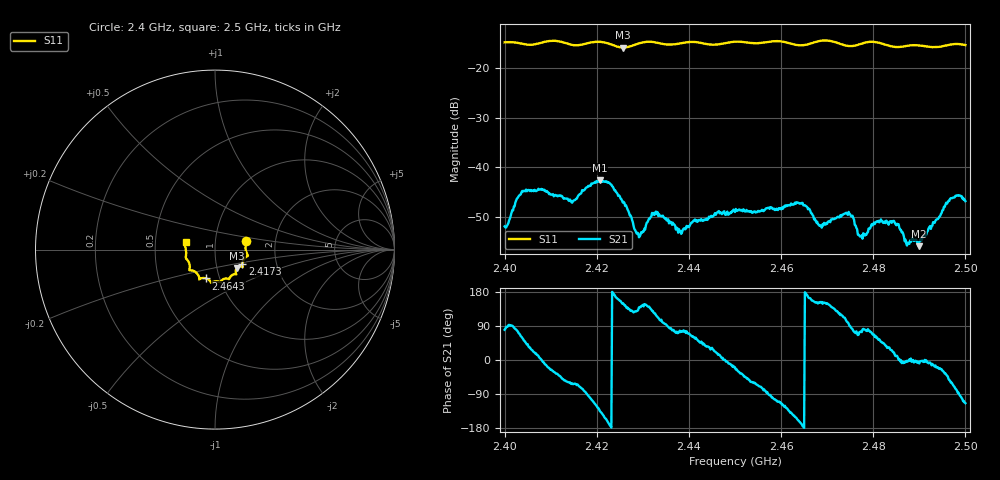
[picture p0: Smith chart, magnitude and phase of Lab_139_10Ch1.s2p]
# Hz S RI R 50
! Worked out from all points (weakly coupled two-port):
!   601 points, 2.4 GHz to 2.5 GHz, reference 50 ohm
!   highest |S21| = -42.59 dB at 2.4207 GHz (marker M1); lowest = -55.9 dB at 2.4898 GHz (marker M2)
!   lowest |S11| = -15.9 dB at 2.4257 GHz (marker M3), VSWR 1.38, Z = 62.4 - j13.1 ohm
!   |S11| at or under -10 dB: start of sweep to end of sweep
!   S12 and S22 are empty: the file has one direction only
!   S11 on the Smith chart (normalised r, x): 2.4 GHz: 1.41, +0.14; 2.4173 GHz: 1.34, -0.23; 2.4643 GHz: 0.86, -0.28; 2.5 GHz: 0.72, +0.06
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2.4e9  0.1732 0.0491  0.000451 0.00251  0 0  0 0
2.404167e9  0.1714 0.0228  0.00362 0.00454  0 0  0 0
2.4145e9  0.1627 -0.0508  0.00201 -0.00398  0 0  0 0
2.416667e9  0.1533 -0.0748  0.00148 -0.00533  0 0  0 0
2.417333e9  0.1525 -0.0823  0.000765 -0.00586  0 0  0 0
2.420667e9  0.1541 -0.0972  -0.0052 -0.0053  0 0  0 0
2.425667e9  0.1225 -0.1022  -0.00382 0.0022  0 0  0 0
2.429e9  0.1158 -0.1311  -0.00147 0.00159  0 0  0 0
2.433333e9  0.1128 -0.1369  -0.00119 0.00301  0 0  0 0
2.438167e9  0.0823 -0.1555  0.000644 0.0022  0 0  0 0
2.45e9  0.0294 -0.1806  0.00335 -0.00117  0 0  0 0
2.464333e9  -0.0501 -0.1606  -0.00421 -0.000924  0 0  0 0
2.466667e9  -0.0758 -0.1595  -0.00316 0.00134  0 0  0 0
2.468667e9  -0.0869 -0.1655  -0.00226 0.00121  0 0  0 0
2.4745e9  -0.1017 -0.131  -0.000529 0.00328  0 0  0 0
2.477167e9  -0.1278 -0.1164  0.000549 0.00193  0 0  0 0
2.483333e9  -0.1407 -0.0899  0.00221 0.00147  0 0  0 0
2.485e9  -0.1447 -0.0719  0.00257 0.000503  0 0  0 0
2.487333e9  -0.157 -0.0545  0.00163 -5.41e-05  0 0  0 0
2.489833e9  -0.1628 -0.0418  0.0016 -0.000215  0 0  0 0
2.496833e9  -0.1696 0.0251  0.00249 -0.00422  0 0  0 0
2.5e9  -0.1636 0.0419  -0.00186 -0.00417  0 0  0 0
